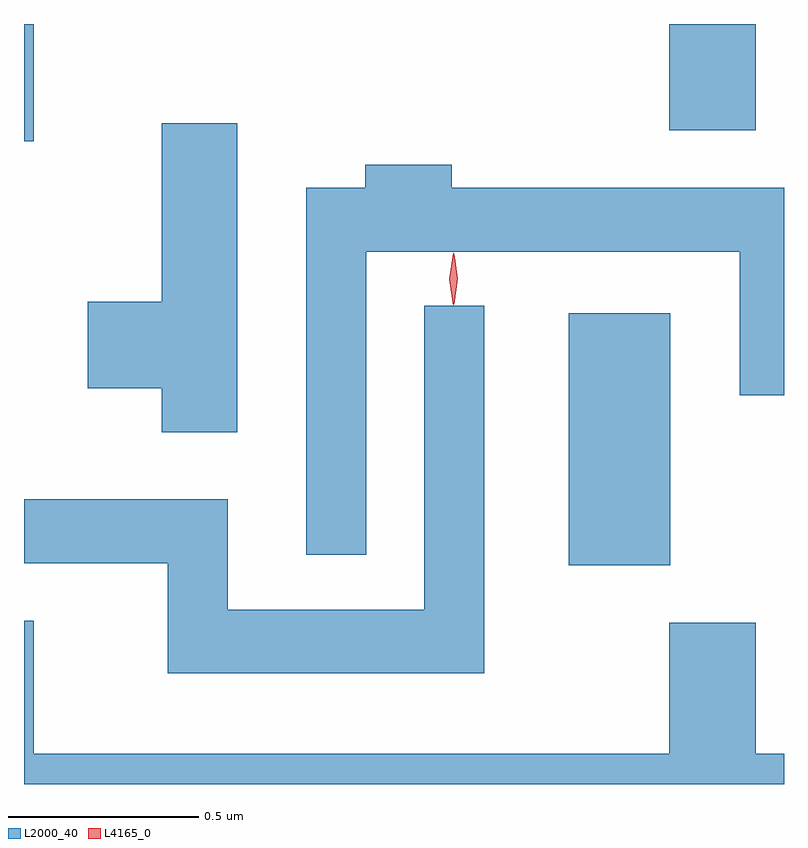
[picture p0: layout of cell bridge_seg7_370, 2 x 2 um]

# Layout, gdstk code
import gdstk
lib = gdstk.Library(unit=1e-6, precision=1e-09)
def R(c, l, rs):  # rectangles x0, y0, x1, y1
    for r in rs: c.add(gdstk.rectangle(r[:2], r[2:], *l))
def P(c, l, *ps):  # polygons
    for p in ps: c.add(gdstk.Polygon(p, *l))
L2000_40 = (2000, 40)
L4165_0 = (4165, 0)

bridge_seg7_370 = lib.new_cell('bridge_seg7_370')
R(bridge_seg7_370, L2000_40, [(1184.656,1763.921,1184.924,1764.584), (1183.223,1765.036,1183.249,1765.345), (1184.921,1765.066,1185.149,1765.345)])
P(bridge_seg7_370, L2000_40, [(1183.784,1765.084),(1183.586,1765.084),(1183.586,1764.614),(1183.391,1764.614),(1183.391,1764.386),(1183.586,1764.386),(1183.586,1764.271),(1183.784,1764.271)],
  [(1184.124,1764.746),(1185.106,1764.746),(1185.106,1764.368),(1185.223,1764.368),(1185.223,1764.914),(1184.349,1764.914),(1184.349,1764.974),(1184.121,1764.974),(1184.121,1764.914),(1183.966,1764.914),(1183.966,1763.948),(1184.124,1763.948)],
  [(1184.434,1764.603),(1184.276,1764.603),(1184.276,1763.804),(1183.759,1763.804),(1183.759,1764.094),(1183.223,1764.094),(1183.223,1763.926),(1183.601,1763.926),(1183.601,1763.636),(1184.434,1763.636)],
  [(1185.223,1763.424),(1185.149,1763.424),(1185.149,1763.769),(1184.921,1763.769),(1184.921,1763.424),(1183.249,1763.424),(1183.249,1763.774),(1183.223,1763.774),(1183.223,1763.345),(1185.223,1763.345)])
P(bridge_seg7_370, L4165_0, [(1184.352,1764.603),(1184.352,1764.604),(1184.342,1764.673),(1184.352,1764.742),(1184.352,1764.743),(1184.353,1764.742),(1184.362,1764.673),(1184.353,1764.604)],
  [(1184.354,1764.607),(1184.345,1764.674),(1184.354,1764.74),(1184.355,1764.741),(1184.355,1764.74),(1184.365,1764.674),(1184.355,1764.607),(1184.355,1764.607)])

lib.write_gds('bridge_seg7_370.gds')
